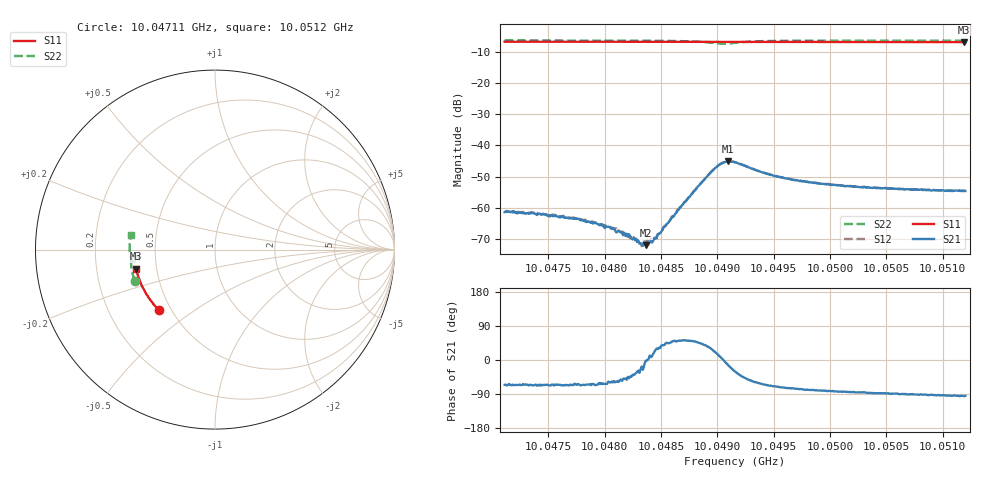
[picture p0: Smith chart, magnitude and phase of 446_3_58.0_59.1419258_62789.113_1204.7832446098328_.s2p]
#  HZ  S  RI  R  50.00
! Rohde & Schwarz Vector Network Analyzer
! Rohde-Schwarz,ZNB20-2Port,1311601062101988,3.16
! Created: UTC 3/21/2024, 1:10:16 AM
! freq[Hz]  re:S11  im:S11  re:S21  im:S21  re:S12  im:S12  re:S22  im:S22
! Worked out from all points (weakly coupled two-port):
!   401 points, 10.04711 GHz to 10.0512 GHz, reference 50 ohm
!   highest |S21| = -45.09 dB at 10.0491 GHz (marker M1); lowest = -72.0 dB at 10.04837 GHz (marker M2)
!   lowest |S11| = -6.9 dB at 10.05119 GHz (marker M3), VSWR 2.65, Z = 19.1 - j5.13 ohm
!   |S11| at or under -10 dB: nowhere
!   |S22| runs from -7.4 to -6.4 dB; largest |S21 - S12| = 0.00039
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1.0047113e10  -0.311 -0.3378  0.000354 -0.00078  0.000431 -0.000788  -0.4472 -0.1734
1.0047358e10  -0.3225 -0.3261  0.000327 -0.000772  0.0004 -0.000719  -0.4525 -0.1579
1.0047798e10  -0.342 -0.3045  0.000264 -0.000592  0.000287 -0.000582  -0.4606 -0.1283
1.0048053e10  -0.3524 -0.2913  0.00024 -0.000408  0.000286 -0.000404  -0.4642 -0.1103
1.0048176e10  -0.3574 -0.285  0.000255 -0.000306  0.000257 -0.00028  -0.4656 -0.1014
1.0048217e10  -0.359 -0.2828  0.000253 -0.000284  0.000264 -0.000252  -0.466 -0.0984
1.0048299e10  -0.3621 -0.2784  0.000266 -0.000141  0.000261 -0.000142  -0.4669 -0.092
1.0048319e10  -0.3628 -0.2774  0.000249 -0.000115  0.000264 -0.00013  -0.467 -0.0904
1.004835e10  -0.3642 -0.2758  0.000267 -7.8e-05  0.000286 -4.65e-05  -0.4671 -0.0878
1.004837e10  -0.3649 -0.2746  0.000252 -5.39e-06  0.000268 -1.27e-05  -0.4672 -0.0864
1.0048442e10  -0.3675 -0.2708  0.000311 0.000121  0.000292 0.000123  -0.4674 -0.0805
1.0048483e10  -0.3692 -0.2685  0.000323 0.000204  0.000318 0.000223  -0.4676 -0.0769
1.0048667e10  -0.3756 -0.2585  0.000637 0.000778  0.00057 0.000816  -0.4654 -0.06
1.0048943e10  -0.3851 -0.2427  0.00323 0.0019  0.0031 0.00208  -0.4408 -0.0353
1.0049025e10  -0.3875 -0.2382  0.00491 0.000755  0.0049 0.0011  -0.4263 -0.0428
1.0049096e10  -0.3899 -0.2344  0.00542 -0.00127  0.00549 -0.000925  -0.4248 -0.0586
1.0049158e10  -0.3919 -0.2311  0.00466 -0.00269  0.00484 -0.00242  -0.4344 -0.0675
1.0049515e10  -0.4031 -0.2104  0.00111 -0.00302  0.0013 -0.00299  -0.4701 -0.0426
1.0049843e10  -0.412 -0.1907  0.000483 -0.00251  0.000631 -0.00248  -0.4752 -0.0149
1.0050528e10  -0.428 -0.1487  2.27e-05 -0.00206  0.000177 -0.00203  -0.4751 0.0346
1.0051192e10  -0.4393 -0.1068  -0.000167 -0.00186  -3.27e-05 -0.00188  -0.4694 0.0794
1.0051202e10  -0.4395 -0.1062  -0.000151 -0.00186  -4.81e-05 -0.00188  -0.4694 0.0799
